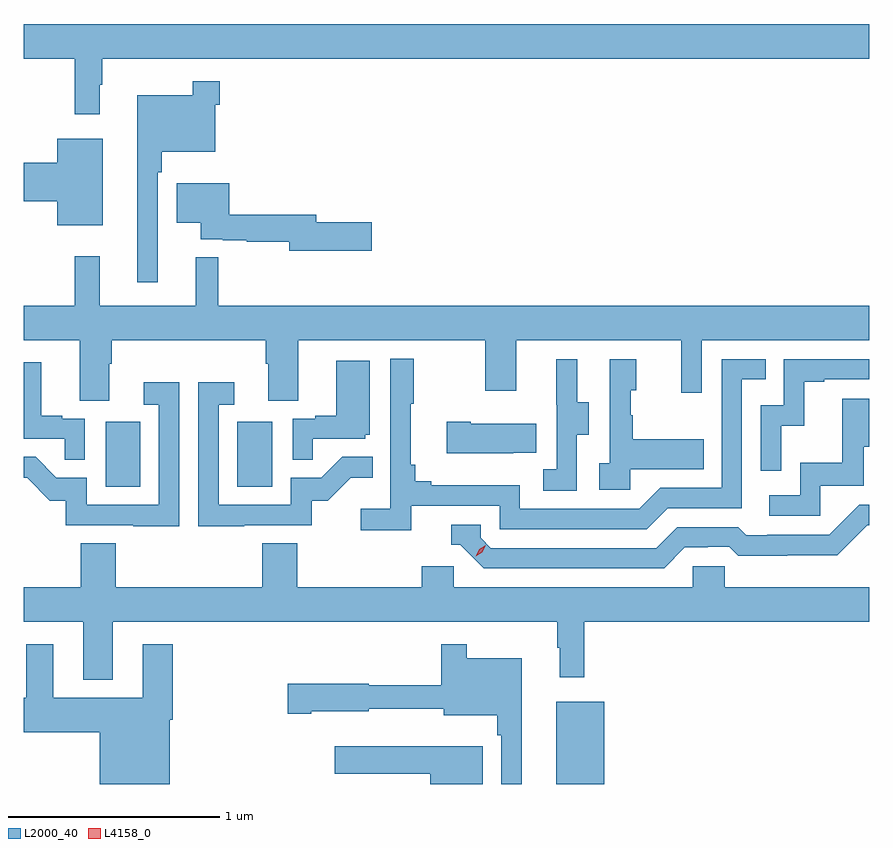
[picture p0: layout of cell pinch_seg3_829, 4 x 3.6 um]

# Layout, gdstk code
import gdstk
lib = gdstk.Library(unit=1e-6, precision=1e-09)
def R(c, l, rs):  # rectangles x0, y0, x1, y1
    for r in rs: c.add(gdstk.rectangle(r[:2], r[2:], *l))
def P(c, l, *ps):  # polygons
    for p in ps: c.add(gdstk.Polygon(p, *l))
L2000_40 = (2000, 40)
L4158_0 = (4158, 0)

pinch_seg3_829 = lib.new_cell('pinch_seg3_829')
R(pinch_seg3_829, L2000_40, [(852.587,716.133,852.814,716.521), (850.454,717.54,850.618,717.847), (851.078,717.54,851.242,717.847)])
P(pinch_seg3_829, L2000_40, [(850.426,719.441),(850.438,719.441),(850.438,719.564),(854.067,719.564),(854.067,719.728),(850.067,719.728),(850.067,719.564),(850.309,719.564),(850.309,719.301),(850.426,719.301)],
  [(850.701,719.027),(850.721,719.027),(850.721,719.123),(850.974,719.123),(850.974,719.345),(850.994,719.345),(850.994,719.458),(850.866,719.458),(850.866,719.392),(850.604,719.392),(850.604,718.506),(850.701,718.506)],
  [(850.441,719.185),(850.226,719.185),(850.226,719.072),(850.067,719.072),(850.067,718.889),(850.226,718.889),(850.226,718.775),(850.441,718.775)],
  [(851.713,718.79),(851.452,718.79),(851.452,718.826),(851.039,718.826),(851.039,718.975),(850.79,718.975),(850.79,718.787),(850.904,718.787),(850.904,718.71),(851.008,718.71),(851.008,718.704),(851.122,718.704),(851.122,718.698),(851.324,718.698),(851.324,718.655),(851.713,718.655)],
  [(850.471,718.12),(850.484,718.12),(850.484,718.232),(851.213,718.232),(851.213,718.12),(851.225,718.12),(851.225,717.946),(851.365,717.946),(851.365,718.232),(852.25,718.232),(852.25,717.993),(852.397,717.993),(852.397,718.232),(853.178,718.232),(853.178,717.984),(853.275,717.984),(853.275,718.232),(854.067,718.232),(854.067,718.396),(850.988,718.396),(850.988,718.625),(850.88,718.625),(850.88,718.396),(850.427,718.396),(850.427,718.63),(850.309,718.63),(850.309,718.396),(850.067,718.396),(850.067,718.232),(850.331,718.232),(850.331,717.946),(850.471,717.946)],
  [(851.9,717.45),(852.318,717.45),(852.318,717.339),(853.015,717.339),(853.114,717.438),(853.464,717.438),(853.464,718.047),(853.577,718.047),(853.577,718.143),(853.368,718.143),(853.368,717.534),(853.077,717.534),(852.978,717.435),(852.414,717.435),(852.414,717.547),(851.995,717.547),(851.995,717.566),(851.918,717.566),(851.918,717.643),(851.899,717.643),(851.899,717.931),(851.911,717.931),(851.911,718.144),(851.802,718.144),(851.802,717.436),(851.661,717.436),(851.661,717.334),(851.9,717.334)],
  [(853.65,717.827),(853.76,717.827),(853.76,718.035),(853.855,718.035),(853.855,718.047),(854.067,718.047),(854.067,718.143),(853.662,718.143),(853.662,717.924),(853.554,717.924),(853.554,717.615),(853.65,717.615)],
  [(852.684,717.784),(852.739,717.784),(852.739,717.939),(852.685,717.939),(852.685,718.141),(852.587,718.141),(852.587,717.927),(852.588,717.927),(852.588,717.623),(852.525,717.623),(852.525,717.52),(852.684,717.52)],
  [(852.936,717.623),(853.283,717.623),(853.283,717.763),(852.949,717.763),(852.949,717.878),(852.939,717.878),(852.939,717.996),(852.964,717.996),(852.964,718.141),(852.84,718.141),(852.84,717.65),(852.789,717.65),(852.789,717.525),(852.936,717.525)],
  [(851.435,717.765),(851.682,717.765),(851.682,717.786),(851.704,717.786),(851.704,718.135),(851.546,718.135),(851.546,717.874),(851.447,717.874),(851.447,717.861),(851.34,717.861),(851.34,717.667),(851.435,717.667)],
  [(850.356,717.861),(850.25,717.861),(850.25,717.874),(850.15,717.874),(850.15,718.129),(850.067,718.129),(850.067,717.765),(850.261,717.765),(850.261,717.667),(850.356,717.667)],
  [(850.803,718.033),(850.635,718.033),(850.635,717.927),(850.707,717.927),(850.707,717.453),(850.365,717.453),(850.365,717.582),(850.221,717.582),(850.123,717.68),(850.067,717.68),(850.067,717.581),(850.083,717.581),(850.19,717.474),(850.267,717.474),(850.267,717.357),(850.585,717.357),(850.585,717.352),(850.803,717.352)],
  [(851.111,717.357),(851.43,717.357),(851.43,717.474),(851.506,717.474),(851.613,717.581),(851.717,717.581),(851.717,717.68),(851.573,717.68),(851.475,717.582),(851.331,717.582),(851.331,717.453),(850.989,717.453),(850.989,717.927),(851.062,717.927),(851.062,718.033),(850.893,718.033),(850.893,717.352),(851.111,717.352)],
  [(853.836,717.543),(854.041,717.543),(854.041,717.729),(854.067,717.729),(854.067,717.955),(853.939,717.955),(853.939,717.652),(853.74,717.652),(853.74,717.498),(853.593,717.498),(853.593,717.402),(853.836,717.402)],
  [(852.383,717.701),(852.491,717.701),(852.491,717.838),(852.181,717.838),(852.181,717.846),(852.069,717.846),(852.069,717.698),(852.383,717.698)],
  [(853.195,717.252),(853.302,717.252),(853.302,717.255),(853.405,717.255),(853.447,717.213),(853.68,717.213),(853.68,717.215),(853.916,717.215),(854.058,717.357),(854.067,717.357),(854.067,717.453),(854.019,717.453),(853.878,717.312),(853.585,717.312),(853.585,717.309),(853.486,717.309),(853.447,717.348),(853.158,717.348),(853.059,717.249),(852.276,717.249),(852.228,717.297),(852.228,717.36),(852.089,717.36),(852.089,717.264),(852.132,717.264),(852.243,717.153),(853.096,717.153)],
  [(850.489,716.9),(852.591,716.9),(852.591,716.777),(852.602,716.777),(852.602,716.637),(852.719,716.637),(852.719,716.9),(854.067,716.9),(854.067,717.064),(853.383,717.064),(853.383,717.162),(853.233,717.162),(853.233,717.064),(852.102,717.064),(852.102,717.162),(851.951,717.162),(851.951,717.064),(851.36,717.064),(851.36,717.272),(851.195,717.272),(851.195,717.064),(850.502,717.064),(850.502,717.272),(850.337,717.272),(850.337,717.064),(850.067,717.064),(850.067,716.9),(850.349,716.9),(850.349,716.627),(850.489,716.627)],
  [(850.759,716.438),(850.772,716.438),(850.772,716.794),(850.631,716.794),(850.631,716.542),(850.207,716.542),(850.207,716.794),(850.079,716.794),(850.079,716.542),(850.067,716.542),(850.067,716.378),(850.427,716.378),(850.427,716.133),(850.759,716.133)],
  [(852.424,716.728),(852.163,716.728),(852.163,716.794),(852.042,716.794),(852.042,716.599),(851.7,716.599),(851.7,716.607),(851.316,716.607),(851.316,716.465),(851.428,716.465),(851.428,716.477),(851.7,716.477),(851.7,716.489),(852.053,716.489),(852.053,716.459),(852.307,716.459),(852.307,716.363),(852.327,716.363),(852.327,716.133),(852.424,716.133)],
  [(852.238,716.311),(851.538,716.311),(851.538,716.182),(851.99,716.182),(851.99,716.133),(852.238,716.133)])
P(pinch_seg3_829, L4158_0, [(852.206,717.21),(852.206,717.21),(852.222,717.243),(852.253,717.262),(852.253,717.262),(852.253,717.262),(852.237,717.229),(852.206,717.21)])

lib.write_gds('pinch_seg3_829.gds')
